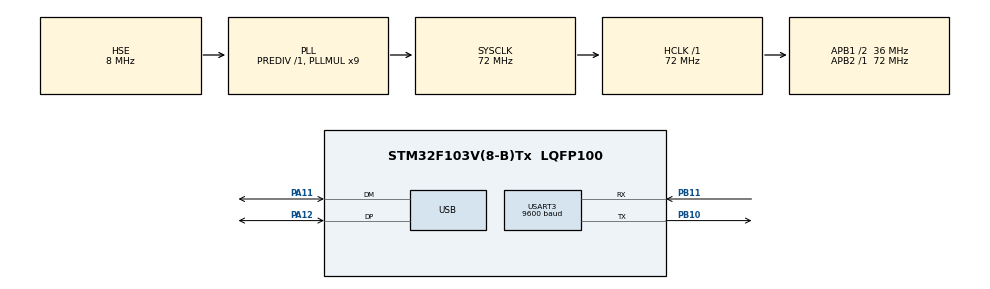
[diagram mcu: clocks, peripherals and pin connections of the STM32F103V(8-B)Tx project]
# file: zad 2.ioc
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Mcu.Family=STM32F1
Mcu.Name=STM32F103V(8-B)Tx
Mcu.Package=LQFP100
NVIC.PriorityGroup=NVIC_PRIORITYGROUP_4
NVIC.USART3_IRQn=true\:0\:0\:false\:false\:true\:true\:true\:true
NVIC.USB_HP_CAN1_TX_IRQn=true\:0\:0\:false\:false\:true\:true\:true\:true
NVIC.USB_LP_CAN1_RX0_IRQn=true\:0\:0\:false\:false\:true\:true\:true\:true
OSC_IN.Mode=HSE-External-Oscillator
OSC_IN.Signal=RCC_OSC_IN
OSC_OUT.Mode=HSE-External-Oscillator
OSC_OUT.Signal=RCC_OSC_OUT
PA11.Mode=Device
PA11.Signal=USB_DM
PA12.Mode=Device
PA12.Signal=USB_DP
PA13.Mode=JTAG_5_pins
PA13.Signal=SYS_JTMS-SWDIO
PA14.Mode=JTAG_5_pins
PA14.Signal=SYS_JTCK-SWCLK
PA15.Mode=JTAG_5_pins
PA15.Signal=SYS_JTDI
PB10.Mode=Asynchronous
PB10.Signal=USART3_TX
PB11.Mode=Asynchronous
PB11.Signal=USART3_RX
PB3.Mode=JTAG_5_pins
PB3.Signal=SYS_JTDO-TRACESWO
PB4.Mode=JTAG_5_pins
PB4.Signal=SYS_NJTRST
PC14-OSC32_IN.Mode=LSE-External-Oscillator
PC14-OSC32_IN.Signal=RCC_OSC32_IN
PC15-OSC32_OUT.Mode=LSE-External-Oscillator
PC15-OSC32_OUT.Signal=RCC_OSC32_OUT
ProjectManager.HeapSize=0x300
ProjectManager.StackSize=0x400
ProjectManager.TargetToolchain=MDK-ARM V5.32
RCC.ADCPresc=RCC_ADCPCLK2_DIV6
RCC.AHBFreq_Value=72000000
RCC.APB1CLKDivider=RCC_HCLK_DIV2
RCC.APB1Freq_Value=36000000
RCC.APB1TimFreq_Value=72000000
RCC.APB2Freq_Value=72000000
RCC.APB2TimFreq_Value=72000000
RCC.HCLKFreq_Value=72000000
RCC.PLLMUL=RCC_PLL_MUL9
RCC.SYSCLKFreq_VALUE=72000000
RCC.SYSCLKSource=RCC_SYSCLKSOURCE_PLLCLK
RCC.USBFreq_Value=48000000
RCC.USBPrescaler=RCC_USBCLKSOURCE_PLL_DIV1_5
USART3.BaudRate=9600
USART3.VirtualMode=VM_ASYNC
USB_DEVICE.APP_RX_DATA_SIZE=64
USB_DEVICE.APP_TX_DATA_SIZE=64
USB_DEVICE.CLASS_NAME_FS=CDC
USB_DEVICE.USBD_SELF_POWERED=0
USB_DEVICE.VirtualMode=Cdc
USB_DEVICE.VirtualModeFS=Cdc_FS
VP_USB_DEVICE_VS_USB_DEVICE_CDC_FS.Mode=CDC_FS
board=custom

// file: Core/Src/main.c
/* USER CODE BEGIN Header */
/**
  ******************************************************************************
  * @file           : main.c
  * @brief          : Main program body
  ******************************************************************************
  * @attention
  *
  * <h2><center>&copy; Copyright (c) 2021 STMicroelectronics.
  * All rights reserved.</center></h2>
  *
  * This software component is licensed by ST under Ultimate Liberty license
  * SLA0044, the "License"; You may not use this file except in compliance with
  * the License. You may obtain a copy of the License at:
  *                             www.st.com/SLA0044
  *
  ******************************************************************************
  */
/* USER CODE END Header */
#include "main.h"
#include "usb_device.h"

/* USER CODE BEGIN Includes */
#include "usbd_cdc_if.h"
#include "stdio.h"
#include "math.h"
/* USER CODE END Includes */

/* USER CODE BEGIN PTD */
#ifdef __GNUC__
#define PUTCHAR_PROTOTYPE int __io_putchar(int ch)
#else
#define PUTCHAR_PROTOTYPE int fputc(int ch, FILE *f)
#endif

PUTCHAR_PROTOTYPE
{
	CDC_Transmit_FS((uint8_t*)&ch,1);
  return ch;
}

struct NMEA_Token
		{
		char*begin;
		char*end;
		};
struct NMEA_Token tokens[20];
/* USER CODE END PTD */

UART_HandleTypeDef huart3;

/* USER CODE BEGIN PV */
volatile uint8_t byte;
char NMEA_Buff[256];
int NMEA_Ready =0;
int NMEA_Size =0;
int token_id_szer;
int	token_id_N;
int token_id_dlug;
int token_id_E;
double szerokosc;
double dlugosc;
double predkosc;
char gps_head[10];
double czas;
uint8_t fix;
/* USER CODE END PV */

void SystemClock_Config(void);
static void MX_GPIO_Init(void);
static void MX_USART3_UART_Init(void);
/* USER CODE BEGIN PFP */
double extractNMEA_Value(struct NMEA_Token*token);
void clearNMEA(void);
int crcCheck(void);
/* USER CODE END PFP */

int main(void)
{

  /* MCU Configuration--------------------------------------------------------*/

  /* Reset of all peripherals, Initializes the Flash interface and the Systick. */
  HAL_Init();

  /* Configure the system clock */
  SystemClock_Config();

  /* Initialize all configured peripherals */
  MX_GPIO_Init();
  MX_USB_DEVICE_Init();
  MX_USART3_UART_Init();
  /* USER CODE BEGIN 2 */
	HAL_UART_Receive_IT(&huart3,(uint8_t*) &byte,1);
  /* USER CODE END 2 */

  /* Infinite loop */
  /* USER CODE BEGIN WHILE */
	//strcat(DataTx11,"$");
	//strcat(DataTx11,"fix");
	//strcat(DataTx11,"*");
	//strcat(DataTx22,"$");
	//strcat(DataTx22,"nofix");
	//strcat(DataTx22,"*");

  while (1)
  {
	//uruchomienie / zatrzymanie pomiarow przyciskiem

    /* USER CODE END WHILE */

    /* USER CODE BEGIN 3 */
		if(NMEA_Ready)
				{
				NMEA_Ready =0;
				int currentToken =0;
				tokens[currentToken].begin =NMEA_Buff;
				for(int i =0;i <NMEA_Size;i++)
					{
						if(NMEA_Buff[i]==',' && currentToken<20)
							{
								tokens[currentToken].end =NMEA_Buff +i;
								currentToken++;
								tokens[currentToken].begin =NMEA_Buff +i +1;
							}
						if (currentToken>=20)
							break;
					};
				tokens[currentToken].end =NMEA_Buff+NMEA_Size;
				strncpy(gps_head, tokens[0].begin, 5);
				if (!strcmp(gps_head,"GPGGA") || !strcmp(gps_head,"GNRMC"))
					{
					if (!strcmp(gps_head,"GPGGA"))
						{
						token_id_szer=2;
						token_id_N=3;
						token_id_dlug=4;
						token_id_E=5;
						fix=(int) *(tokens[6].begin)-48;
						};
					if (!strcmp(gps_head,"GNRMC"))
						{
						token_id_szer=3;
						token_id_N=4;
						token_id_dlug=5;
						token_id_E=6;
						};
					if (fix>0)
						{
						szerokosc=extractNMEA_Value(&tokens[token_id_szer]);
						dlugosc=extractNMEA_Value(&tokens[token_id_dlug]);
						czas=extractNMEA_Value(&tokens[1]);
						switch(*(tokens[token_id_N].begin))
							{
							case 'S':szerokosc =-szerokosc;break;
							case 'N':break;
							default:szerokosc =0.0;break;
							};
						switch(*(tokens[token_id_E].begin))
							{
							case 'W':dlugosc =-dlugosc;break;
							case 'E':break;
							default:dlugosc=0.0;break;
							}
						printf("Dlugosc geograficzna: %f2.6 \n",dlugosc);
						printf("Szerokosc geograficzna: %f2.6 \n",szerokosc);
						printf("Czas UTC: %f2.6 \n", czas);
						}
					};
					if (!strcmp(gps_head,"GPVTG"))
					{
						if (fix>0)
							{
							predkosc=extractNMEA_Value(&tokens[7]);
							printf("Predkosc: %f2.6 \n",predkosc);
							}
						else
							predkosc=0.0;
					}

		}
	}
  /* USER CODE END 3 */
}

void SystemClock_Config(void)
{
  RCC_OscInitTypeDef RCC_OscInitStruct = {0};
  RCC_ClkInitTypeDef RCC_ClkInitStruct = {0};
  RCC_PeriphCLKInitTypeDef PeriphClkInit = {0};

  /** Initializes the RCC Oscillators according to the specified parameters
  * in the RCC_OscInitTypeDef structure.
  */
  RCC_OscInitStruct.OscillatorType = RCC_OSCILLATORTYPE_HSE;
  RCC_OscInitStruct.HSEState = RCC_HSE_ON;
  RCC_OscInitStruct.HSEPredivValue = RCC_HSE_PREDIV_DIV1;
  RCC_OscInitStruct.HSIState = RCC_HSI_ON;
  RCC_OscInitStruct.PLL.PLLState = RCC_PLL_ON;
  RCC_OscInitStruct.PLL.PLLSource = RCC_PLLSOURCE_HSE;
  RCC_OscInitStruct.PLL.PLLMUL = RCC_PLL_MUL9;
  if (HAL_RCC_OscConfig(&RCC_OscInitStruct) != HAL_OK)
  {
    Error_Handler();
  }

  /** Initializes the CPU, AHB and APB buses clocks
  */
  RCC_ClkInitStruct.ClockType = RCC_CLOCKTYPE_HCLK|RCC_CLOCKTYPE_SYSCLK
                              |RCC_CLOCKTYPE_PCLK1|RCC_CLOCKTYPE_PCLK2;
  RCC_ClkInitStruct.SYSCLKSource = RCC_SYSCLKSOURCE_PLLCLK;
  RCC_ClkInitStruct.AHBCLKDivider = RCC_SYSCLK_DIV1;
  RCC_ClkInitStruct.APB1CLKDivider = RCC_HCLK_DIV2;
  RCC_ClkInitStruct.APB2CLKDivider = RCC_HCLK_DIV1;

  if (HAL_RCC_ClockConfig(&RCC_ClkInitStruct, FLASH_LATENCY_2) != HAL_OK)
  {
    Error_Handler();
  }
  PeriphClkInit.PeriphClockSelection = RCC_PERIPHCLK_USB;
  PeriphClkInit.UsbClockSelection = RCC_USBCLKSOURCE_PLL_DIV1_5;
  if (HAL_RCCEx_PeriphCLKConfig(&PeriphClkInit) != HAL_OK)
  {
    Error_Handler();
  }
}

static void MX_USART3_UART_Init(void)
{

  huart3.Instance = USART3;
  huart3.Init.BaudRate = 9600;
  huart3.Init.WordLength = UART_WORDLENGTH_8B;
  huart3.Init.StopBits = UART_STOPBITS_1;
  huart3.Init.Parity = UART_PARITY_NONE;
  huart3.Init.Mode = UART_MODE_TX_RX;
  huart3.Init.HwFlowCtl = UART_HWCONTROL_NONE;
  huart3.Init.OverSampling = UART_OVERSAMPLING_16;
  if (HAL_UART_Init(&huart3) != HAL_OK)
  {
    Error_Handler();
  }

}

static void MX_GPIO_Init(void)
{

  /* GPIO Ports Clock Enable */
  __HAL_RCC_GPIOC_CLK_ENABLE();
  __HAL_RCC_GPIOB_CLK_ENABLE();
  __HAL_RCC_GPIOA_CLK_ENABLE();

}

/* USER CODE BEGIN 4 */
void HAL_UART_RxCpltCallback(UART_HandleTypeDef *huart)
	{
		static int NMEA_ReadInit =0;
		static int crRead =0;
		if(!NMEA_ReadInit && byte=='$')
				{
					NMEA_ReadInit =1;
					clearNMEA();
				}
			else if(!NMEA_ReadInit)
					clearNMEA();
			else
				{
					if(byte =='\r')
						{
						if(!crRead)
							crRead =1;
						else
							{
							NMEA_ReadInit =0;
							clearNMEA();
							}
						}
					else if(crRead && byte =='\n')
							{
							if(crcCheck())
								{
									NMEA_Ready =1;
								}
							else
									clearNMEA();
							NMEA_ReadInit =0;
							crRead =0;
							}
					else if(crRead && byte!='\n')
							{
								crRead =0;
								NMEA_ReadInit =0;
								clearNMEA();
							}
					else
							{
								NMEA_Size++;
								NMEA_Buff[NMEA_Size -1]=byte;
							}
				}
		HAL_UART_Receive_IT(&huart3,(uint8_t*) &byte,1);
	}

	void clearNMEA()
	{
		NMEA_Ready =0;
		NMEA_Size =0;
	}

	int crcCheck()
	{
		char strCrc[3]={'\0','\0','\0'};
		if(NMEA_Buff[NMEA_Size-3]!='*')
			return 0;
		strCrc[0]=NMEA_Buff[NMEA_Size-2];
		strCrc[1]=NMEA_Buff[NMEA_Size-1];
		unsigned char crc =0;
		int declaredCrc =strtol(strCrc,NULL,16);
		for(int i =0;i <NMEA_Size-3;i++)
			crc ^=NMEA_Buff[i];
		return	crc ==declaredCrc;
		}

	double extractNMEA_Value(struct NMEA_Token* token)
		{
		double wynikNMEA;
		int dot,comma;
		char tmpStr[30];
		char cal[30],ulam[30];
		for(int i =0;i<30;i++)
			{
			tmpStr[i]=0;
			cal[i]=0;
			ulam[i]=0;
			}
		for(int i =0;;i++)
			{
			tmpStr[i]=*(token->begin+i);
			if((token->begin +i)==(token->end))
				{
				break;
				};
			}
		dot=30;comma=30;
		for(int i =0;i<30;i++)
			{
			if (i<dot)
				cal[i]=tmpStr[i];
			if (tmpStr[i]=='.')
				{
					dot=i;
					cal[i]=0x00;
				}
			if (tmpStr[i]==',')
				{
					comma=i;
					tmpStr[i]=0x00;
					break;
				}
			if (i>dot && i<comma && dot<30)
				ulam[i-dot-1]=tmpStr[i];
			}
		wynikNMEA=((float)atoi(ulam))/(pow(10,(comma-dot-1)))+(float) atoi(cal);;
		return wynikNMEA;
		}

/* USER CODE END 4 */

void Error_Handler(void)
{
  __disable_irq();
  while (1)
  {
  }
}
